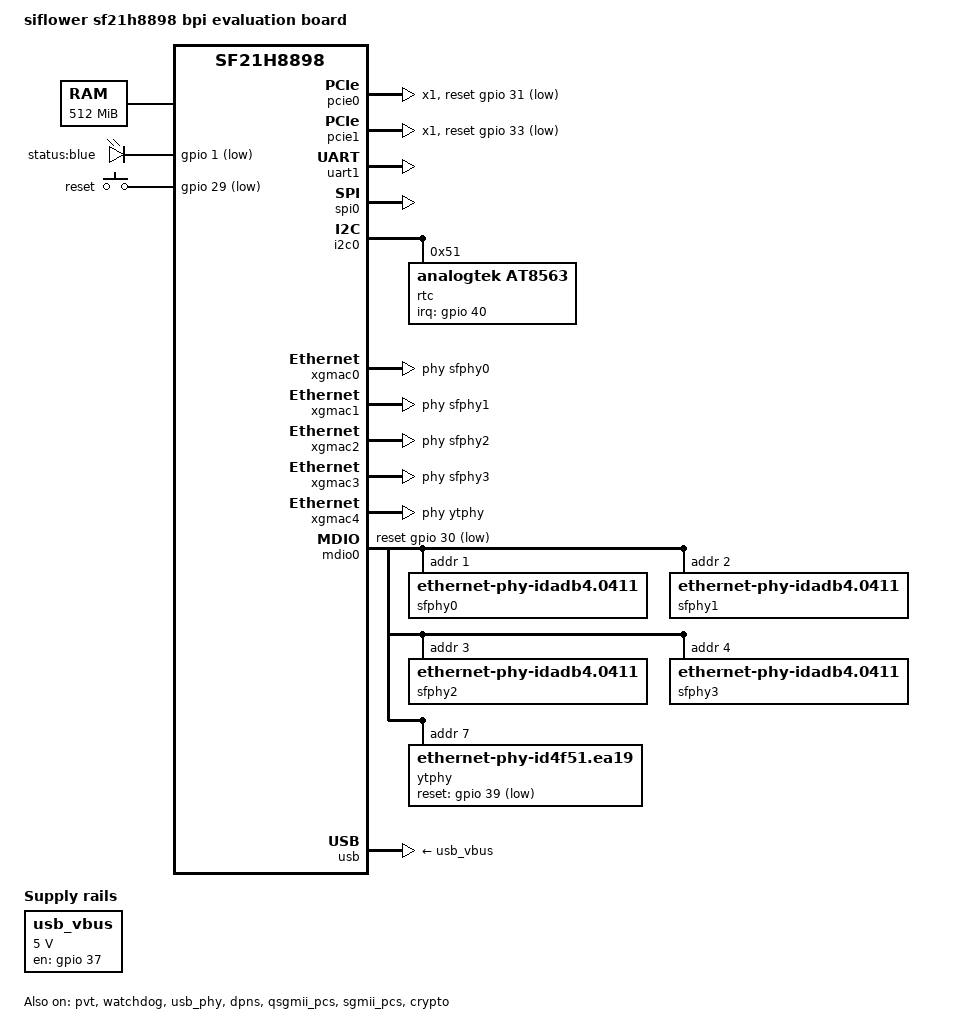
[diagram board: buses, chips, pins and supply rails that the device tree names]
/*
 * Copyright 2022 SiFlower Corporation.
 */

#include "sf21h8898.dtsi"

/ {
	model = "siflower sf21h8898 bpi evaluation board";
	compatible = "siflower,sf21h8898-bpi-nand", "siflower,sf21h8898";

	chosen {
		stdout-path = "serial1:115200n8";
	};

	memory@20000000 {
		device_type = "memory";
		reg = <0x0 0x20000000 0x0 0x20000000>;
	};

	leds {
		compatible = "gpio-leds";

		led_status: led-status {
			label = "status:blue";
			gpios = <&gpio 1 GPIO_ACTIVE_LOW>;
		};
	};

	keys {
		compatible = "gpio-keys";
		pinctrl-names = "default";
		pinctrl-0 = <&rstbtn_pin>;

		reset {
			label = "reset";
			linux,code = <KEY_RESTART>;
			gpios = <&gpio 29 GPIO_ACTIVE_LOW>;
		};
	};

	usb_vbus: regulator@0 {
		compatible = "regulator-fixed";
		regulator-name = "usb_vbus";
		regulator-min-microvolt = <5000000>;
		regulator-max-microvolt = <5000000>;
		gpio = <&gpio 37 GPIO_ACTIVE_HIGH>;
		enable-active-high;
	};
};

&spi0_pins {
	pinctrl-single,pins = <
		SPI0_TXD	FUNC_MODE0
		SPI0_RXD	FUNC_MODE0
		SPI0_CLK	FUNC_MODE0
		SPI0_HOLD	FUNC_MODE0
		SPI0_WP		FUNC_MODE0
	>;
};

&pvt {
	status = "okay";
};

&pcie0 {
	reset-gpios = <&gpio 31 GPIO_ACTIVE_LOW>;
	reset-ms = <100>;
	num-lanes = <1>;
	lane-mode = <0>;
	status = "okay";
};

&pcie1 {
	reset-gpios = <&gpio 33 GPIO_ACTIVE_LOW>;
	reset-ms = <100>;
	num-lanes = <1>;
	lane-mode = <0>;
	status = "okay";
};

&watchdog {
	status = "okay";
};

&uart1 {
	status = "okay";
};

&spi0 {
	status = "okay";
	num-cs = <2>;
	cs-gpios = <&gpio 5 GPIO_ACTIVE_LOW>, <&gpio 36 GPIO_ACTIVE_LOW>;
};

&iomux {
	rtc_int_gpio: rtc-int-pins {
		pinctrl-single,pins = <PHY_INT GPIO_MODE>;
		// disable internal bias as it's externally (and weakly) pulled up
		pinctrl-single,bias-pullup = <0 SW_PU 0 SW_PU>;
		pinctrl-single,bias-pulldown = <0 SW_PD 0 SW_PD>;
	};

	rstbtn_pin: rstbtn_pin {
		pinctrl-single,pins = <RGMII_RXD0 GPIO_MODE>;
		pinctrl-single,bias-pullup = <SW_PU SW_PU 0 SW_PU>;
		pinctrl-single,bias-pulldown = <0 SW_PD 0 SW_PD>;
	};
};

&i2c0 {
	status = "okay";

	rtc: rtc@51 {
		compatible = "analogtek,at8563", "nxp,pcf8563";
		reg = <0x51>;
		#clock-cells = <0>;
		interrupts-extended = <&gpio 40 IRQ_TYPE_LEVEL_LOW>;
		pinctrl-names = "default";
		pinctrl-0 = <&rtc_int_gpio>;
	};
};

&xgmac0 {
	status = "okay";
	phy-handle = <&sfphy0>;
	nvmem-cells = <&mtd_mac_address>;
	nvmem-cell-names = "mac-address";
};

&xgmac1 {
	status = "okay";
	phy-handle = <&sfphy1>;
	nvmem-cells = <&mtd_mac_address>;
	nvmem-cell-names = "mac-address";
};

&xgmac2 {
	status = "okay";
	phy-handle = <&sfphy2>;
	nvmem-cells = <&mtd_mac_address>;
	nvmem-cell-names = "mac-address";
};

&xgmac3 {
	status = "okay";
	phy-handle = <&sfphy3>;
	nvmem-cells = <&mtd_mac_address>;
	nvmem-cell-names = "mac-address";
};

&xgmac4 {
	status = "okay";
	phy-handle = <&ytphy>;
	nvmem-cells = <&mtd_mac_address>;
	nvmem-cell-names = "mac-address";
	mac-address-increment = <1>;
	/delete-property/ pinctrl-0;
};

&mdio0 {
	reset-gpios = <&gpio 30 GPIO_ACTIVE_LOW>;
	reset-delay-us = <10000>;
	reset-post-delay-us = <100000>;

	sfphy0: ethernet-phy@1 {
		compatible = "ethernet-phy-idadb4.0411";
		reg = <0x1>;
	};

	sfphy1: ethernet-phy@2 {
		compatible = "ethernet-phy-idadb4.0411";
		reg = <0x2>;
	};

	sfphy2: ethernet-phy@3 {
		compatible = "ethernet-phy-idadb4.0411";
		reg = <0x3>;
	};

	sfphy3: ethernet-phy@4 {
		compatible = "ethernet-phy-idadb4.0411";
		reg = <0x4>;
	};

	ytphy: ethernet-phy@7 {
		compatible = "ethernet-phy-id4f51.ea19";
		reg = <0x7>;
		reset-gpios = <&gpio 39 GPIO_ACTIVE_LOW>;
		reset-assert-us = <10000>;
		reset-deassert-us = <100000>;
	};
};

&usb_phy {
	status = "okay";
};

&usb {
	status = "okay";
	vbus-supply = <&usb_vbus>;
};

&dpns {
	status = "okay";
};

&edma {
	status = "okay";
};

&qsgmii_pcs {
	status = "okay";
};

&sgmii_pcs {
	status = "okay";
};

&crypto {
	status = "okay";
};
